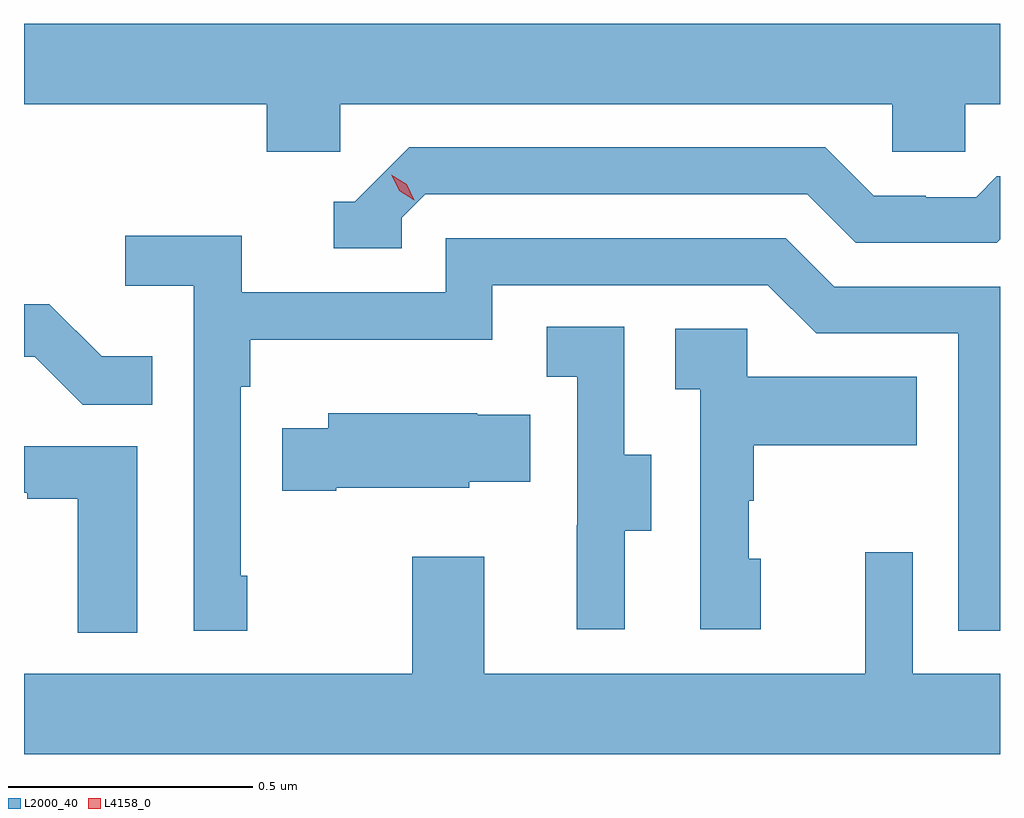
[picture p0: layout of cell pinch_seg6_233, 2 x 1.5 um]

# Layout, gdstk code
import gdstk
lib = gdstk.Library(unit=1e-6, precision=1e-09)
def P(c, l, *ps):  # polygons
    for p in ps: c.add(gdstk.Polygon(p, *l))
L2000_40 = (2000, 40)
L4158_0 = (4158, 0)

pinch_seg6_233 = lib.new_cell('pinch_seg6_233')
P(pinch_seg6_233, L2000_40, [(1142.922,927.356),(1144.053,927.356),(1144.053,927.258),(1144.203,927.258),(1144.203,927.356),(1144.274,927.356),(1144.274,927.52),(1142.274,927.52),(1142.274,927.356),(1142.771,927.356),(1142.771,927.258),(1142.922,927.258)],
  [(1143.048,927.123),(1143.096,927.171),(1143.879,927.171),(1143.978,927.072),(1144.267,927.072),(1144.274,927.079),(1144.274,927.208),(1144.267,927.208),(1144.225,927.165),(1144.122,927.165),(1144.122,927.168),(1144.015,927.168),(1143.916,927.267),(1143.063,927.267),(1142.952,927.156),(1142.909,927.156),(1142.909,927.06),(1143.048,927.06)],
  [(1142.731,926.389),(1142.718,926.389),(1142.718,926.777),(1142.738,926.777),(1142.738,926.873),(1143.234,926.873),(1143.234,926.985),(1143.798,926.985),(1143.897,926.886),(1144.188,926.886),(1144.188,926.277),(1144.274,926.277),(1144.274,926.982),(1143.934,926.982),(1143.835,927.081),(1143.138,927.081),(1143.138,926.97),(1142.72,926.97),(1142.72,927.086),(1142.481,927.086),(1142.481,926.984),(1142.622,926.984),(1142.622,926.277),(1142.731,926.277)],
  [(1142.537,926.839),(1142.433,926.839),(1142.326,926.946),(1142.274,926.946),(1142.274,926.838),(1142.296,926.838),(1142.394,926.74),(1142.537,926.74)],
  [(1143.505,926.482),(1143.559,926.482),(1143.559,926.637),(1143.504,926.637),(1143.504,926.9),(1143.345,926.9),(1143.345,926.797),(1143.408,926.797),(1143.408,926.493),(1143.407,926.493),(1143.407,926.28),(1143.505,926.28)],
  [(1143.784,926.424),(1143.759,926.424),(1143.759,926.543),(1143.769,926.543),(1143.769,926.657),(1144.103,926.657),(1144.103,926.797),(1143.756,926.797),(1143.756,926.895),(1143.609,926.895),(1143.609,926.771),(1143.66,926.771),(1143.66,926.28),(1143.784,926.28)],
  [(1142.914,926.57),(1143.186,926.57),(1143.186,926.582),(1143.311,926.582),(1143.311,926.719),(1143.203,926.719),(1143.203,926.722),(1142.897,926.722),(1142.897,926.692),(1142.803,926.692),(1142.803,926.563),(1142.914,926.563)],
  [(1142.506,926.655),(1142.274,926.655),(1142.274,926.559),(1142.281,926.559),(1142.281,926.547),(1142.384,926.547),(1142.384,926.273),(1142.506,926.273)],
  [(1144.274,926.188),(1144.095,926.188),(1144.095,926.437),(1143.998,926.437),(1143.998,926.188),(1143.217,926.188),(1143.217,926.428),(1143.07,926.428),(1143.07,926.188),(1142.274,926.188),(1142.274,926.024),(1144.274,926.024)])
P(pinch_seg6_233, L4158_0, [(1143.074,927.159),(1143.043,927.178),(1143.027,927.211),(1143.027,927.211),(1143.027,927.211),(1143.058,927.192),(1143.074,927.159),(1143.074,927.159)])

lib.write_gds('pinch_seg6_233.gds')
